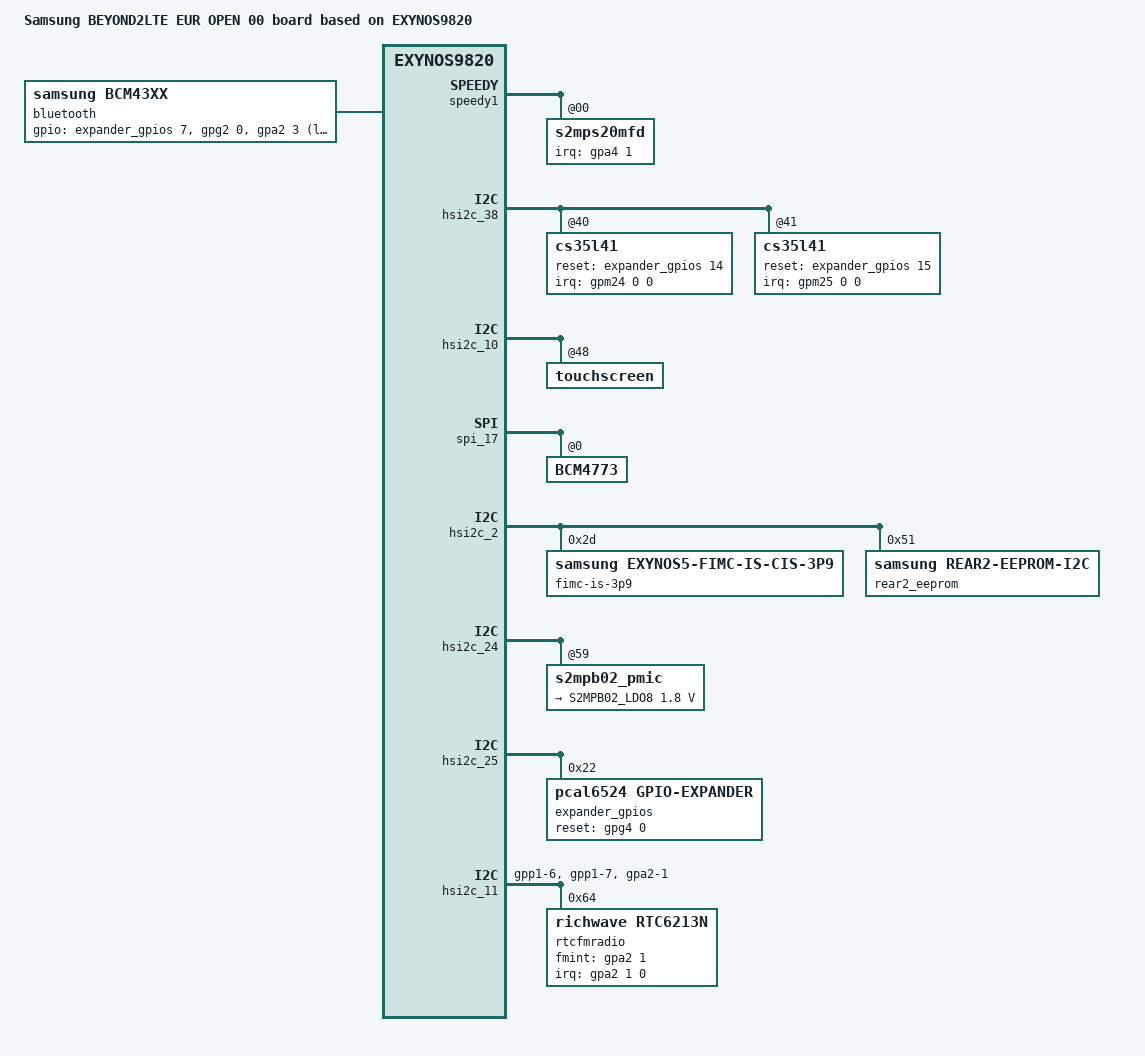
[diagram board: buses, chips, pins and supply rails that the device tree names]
/*
 * SAMSUNG EXYNOS9820 board device tree source
 *
 * Copyright (c) 2018 Samsung Electronics Co., Ltd.
 *		http://www.samsung.com
 *
 * This program is free software; you can redistribute it and/or modify
 * it under the terms of the GNU General Public License version 2 as
 * published by the Free Software Foundation.
*/

/dts-v1/;
/plugin/;
#include "exynos9820-sensorhub.dtsi"
#include "exynos9820-display-lcd.dtsi"
#include "battery_data_beyond2lte_18.dtsi"
#include "exynos9820-beyond2lte_if-pmic-max77705.dtsi"
#include <dt-bindings/clock/exynos9820.h>
#include <dt-bindings/pci/pci.h>
#include "exynos9820-bootargs_ext.dtsi"
#include "exynos9820-beyond2lte_camera.dtsi"
#include "exynos9820_evt0-beyond2lte_common.dtsi"
#include "exynos9820-beyond2lte_fingerprint_00.dtsi"
#include "exynos9820-beyond2lte_optics-r00.dtsi"

/ {
	compatible = "samsung,BEYOND2LTE EUR OPEN 00", "samsung,EXYNOS9820";
	dtbo-hw_rev = <0>;
    	dtbo-hw_rev_end = <1>;

	fragment@model {
		target-path = "/";
		__overlay__ {
			#address-cells = <2>;
			#size-cells = <1>;

			model = "Samsung BEYOND2LTE EUR OPEN 00 board based on EXYNOS9820";
			
			pinctrl@15850000 {
				bt_hostwake: bt-hostwake {
					samsung,pins = "gpa2-3";
					samsung,pin-function = <0>;
					samsung,pin-pud = <0>;
				};
			};

			pinctrl@10430000 {
				bt_btwake: bt-btwake {
					samsung,pins = "gpg2-0";
					samsung,pin-function = <1>;
					samsung,pin-pud = <0>;
					samsung,pin-con-pdn = <3>;
					samsung,pin-pud-pdn = <0>;
				};
			};

			bluetooth {
				compatible = "samsung,bcm43xx";
				gpios = <&expander_gpios 7 0    /*BT_EN*/
				&gpg2 0 0    /*BT_WAKE*/
				&gpa2 3 0xF    /*BT_HOST_WAKE*/ >;
				pinctrl-names = "default";
				pinctrl-0=<&bt_hostwake &bt_btwake>;
				status = "okay";
			};

		}; /* end of __overlay__ */
	}; /* end of fragment */

	fragment@camera {
		target-path = "/";
		__overlay__ {
			/* Ultra Wide CAMERA */
			fimc_is_sensor_3p9: fimc-is_sensor_3p9@2D {
				power_seq_id = <1>;
			};
		}; /* end of __overlay__ */
	}; /* end of fragment */
}; /* end of root */

&pinctrl_0 {
	dp_hpd: dp_hpd {
		samsung,pins = "gpa2-7";
		samsung,pin-function = <2>; 
		samsung,pin-pud = <0>; 
		};
};  

&displayport {
	pinctrl-names = "default";
	pinctrl-0 = <&dp_hpd>;
};

&pinctrl_0 {
	s-pmic-irq {
		samsung,pins = "gpa4-1";
	};
};

&speedy1 {
	s2mps20mfd@00 {
		s2mps20,irq-gpio = <&gpa4 1 0>;
		interrupt-parent = <&gpa4>;
	};
};

&pinctrl_2 {
	amp-int {
		samsung,pins = "gpm24-0", "gpm25-0";
		samsung,pin-pud = <0>;
	};
};

&hsi2c_38 {
	cs35l41@40 {
		interrupt-parent = <&gpm24>;
		interrupts = <0 0 0>;
		reset-gpios = <&expander_gpios 14 0>;
	};

	cs35l41@41 {
		interrupt-parent = <&gpm25>;
		interrupts = <0 0 0>;
		reset-gpios = <&expander_gpios 15 0>;
	};
};

&hsi2c_10 {
	samsung,no-dev-restart;		/* ONLY for LSI IC Y761 : LP & Nack */
	touchscreen@48 {
		sec,project_name = "Star2", "G965";
		sec,bringup = <1>;
	};
};

&spi_17 {
	BCM4773@0 {
		ssp-acc-position = <7>;
		ssp-mag-position = <7>;
		ssp-mag-array = /bits/ 8 <253 81 227 2 33 245 255 40 210 54 99 93 22 178 0 177 255 189 176 138 192
					252 206 156 13 155 175>;
		ssp-thermi-up = /bits/ 16 <2995 2964 2926 2883 2822 2750 2670 2564 2450 2320 2178 2020 1860 1700
					1540 1377 1218 1079 999 834 753 647 566>;
		ssp-thermi-sub = /bits/ 16 <2986 2953 2918 2873 2810 2741 2656 2552 2441 2312 2171 2015 1857 1698
					1537 1377 1217 1083 1003 845 758 654 575>;
	};
};

&usbdrd_phy0 {
	reverse_con_dir = <1>;
};

/* PERIC1 CAM1 */
&hsi2c_1 {
	status = "disabled";
};

/* PERIC1 CAM2 */
&hsi2c_2 {
	#address-cells = <1>;
	#size-cells = <0>;

	fimc-is-3p9@2D {
		compatible = "samsung,exynos5-fimc-is-cis-3p9";
		reg = <0x2D>; /* 1 bit right shift */
		id = <4>; /* matching fimc_is_sensor id */
		setfile = "setA";
		status = "okay";
	};

	rear2_eeprom@51 { /* Ultra wide eeprom */
		compatible = "samsung,rear2-eeprom-i2c";
		reg = <0x51>;

		rom_power_position = <4>;
		rom_size = <0x4000>;
		cal_map_es_version = <10>;
		camera_module_es_version = "A";
		/*skip_cal_loading;*/

		/* Beyond_Rear_Cal_Map_V010_20180709_for_ALL */
		/* 0 header */
		header_crc_check_list = <0x0000 0x00FB 0x00FC>;
		/* 0 master LSC */
		/* 1 master all */
		crc_check_list = <0x0100 0x1AFB 0x1AFC
							0x2200 0x22DF 0x22FC>;

		/* Master */
		rom_header_version_start_addr = <0x40>;
		rom_header_cal_data_start_addr = <0x100>;

		rom_header_cal_map_ver_start_addr = <0x50>;
		rom_header_isp_setfile_ver_start_addr = <0x54>;
		rom_header_project_name_start_addr = <0x5E>;

		rom_header_module_id_addr = <0xAE>; /* 0xA8 + reserved bytes */
		rom_header_sensor_id_addr = <0xB8>;

		rom_header_mtf_data_addr = <0x66>;

		rom_awb_master_addr = <0x2200>;
		rom_awb_module_addr = <0x2224>;
	};
};

&hsi2c_24 {
	s2mpb02_pmic@59 {
		regulators {
			s2mpb02-ldo8 {
				regulator-name = "S2MPB02_LDO8";
				regulator-min-microvolt = <1800000>;
				regulator-max-microvolt = <1800000>;
			};
		};
	};
};

&hsi2c_25 {
	status = "okay";
	expander_gpios: pcal6524@22 {
		compatible = "pcal6524,gpio-expander";
		gpio-controller;
		#gpio-cells = <2>;
		reg = <0x22>;
		pinctrl-names = "expander_reset_setting";
		pinctrl-0 = <&expander_reset_active>;
		pcal6524,gpio_start = <300>;
		pcal6524,ngpio = <24>;
		pcal6524,reset-gpio = <&gpg4 0 0>;
		pcal6524,support_initialize = <1>;
		/* config, 24 ~ 0, 1bit configure[1:input, 0:output]*/
		pcal6524,config = <0xFFFFFF>;    /* P2[11111111] P1[11111111] P0[11111111] */
		/* data_out, 24 ~ 0, 1bit configure[1:high, 0:low]*/
		pcal6524,data_out = <0x000000>;  /* P2[00000000] P1[00000000] P0[00000000] */
		/* pull_reg, 8 ~ 0, 2bit configure[00:no_pull, 01:pull_down, 10:pull_up, 11:not used] */
		pcal6524,pull_reg_p0 = <0x0000>; /* 00 00 00 00 / 00 00 00 00 */
		pcal6524,pull_reg_p1 = <0x0000>; /* 00 00 00 00 / 00 00 00 00 */
		pcal6524,pull_reg_p2 = <0x0000>; /* 00 00 00 00 / 00 00 00 00 */
	};
};

&pinctrl_0 {
	fm_int: fm-int {
		samsung,pins = "gpa2-1";
		samsung,pin-function = <0xf>;
		samsung,pin-pud = <0>;
		samsung,pin-con-pdn =<3>;
		samsung,pin-pud-pdn = <0>;
	};
};

&pinctrl_5 {
	hsi2c11_bus: hsi2c11-bus {
		samsung,pins = "gpp1-6", "gpp1-7";
		samsung,pin-function = <3>;
		samsung,pin-pud = <0>;
		samsung,pin-drv = <0>;
		samsung,pin-pud-pdn = <0>;
	};
};

&hsi2c_11 {
	status = "okay";
	pinctrl-names = "default";
	pinctrl-0 = <&hsi2c11_bus &fm_int>;

	rtcfmradio@64 {
		compatible = "richwave,rtc6213n", "rtc6213n";
		reg = <0x64>;
		interrupts = <1 0 0>;
		interrupt-parent = <&gpa2>;
		fmint-gpio = <&gpa2 1 0>;
		volume_db;
		radio_vol = <44 43 39 36 33 30 27 24 21 18 15 12 10 8 6 4>;
	};
};

&speedy {
	s2mps19mfd@00 {
		regulators {
			LDO29M {
				regulator-name = "vdd-fm-2p8";
				regulator-min-microvolt = <2800000>;
				regulator-max-microvolt = <2800000>;
				regulator-always-on;
				regulator-ramp-delay = <12000>;
				regulator-initial-mode = <3>;
			};
		};
	};
};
